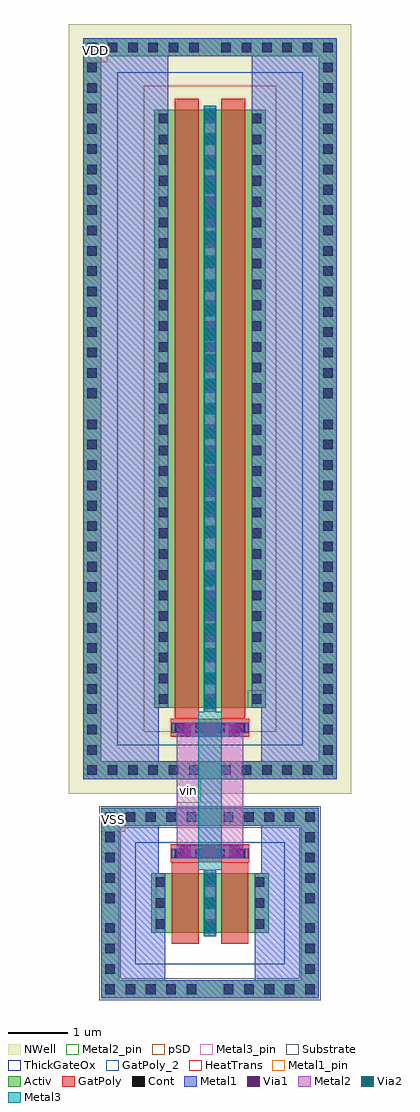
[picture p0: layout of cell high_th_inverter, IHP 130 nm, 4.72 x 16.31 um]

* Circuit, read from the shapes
.subckt high_th_inverter VDD VSS vin vout
XM1 vout vin VSS VSS sg13_hv_nmos w=1u l=0.45u m=2
XM2 vout vin VDD VDD sg13_hv_pmos w=10u l=0.4u m=2
.ends

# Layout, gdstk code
from math import pi, radians
import gdstk
lib = gdstk.Library(unit=1e-6, precision=1e-09)
def R(c, l, rs):  # rectangles x0, y0, x1, y1
    for r in rs: c.add(gdstk.rectangle(r[:2], r[2:], *l))
def A(c, l, x, y, w, h, nx, ny, dx, dy):  # array of equal rectangles
    R(c, l, [(x+i*dx, y+j*dy, x+i*dx+w, y+j*dy+h) for i in range(nx) for j in range(ny)])
def P(c, l, *ps):  # polygons
    for p in ps: c.add(gdstk.Polygon(p, *l))
Activ = (1, 0)
GatPoly = (5, 0)
GatPoly_2 = (5, 2)
Cont = (6, 0)
Metal1 = (8, 0)
Metal1_pin = (8, 2)
Metal2 = (10, 0)
Metal2_pin = (10, 2)
pSD = (14, 0)
Via1 = (19, 0)
Via2 = (29, 0)
Metal3 = (30, 0)
Metal3_pin = (30, 2)
NWell = (31, 0)
Substrate = (40, 0)
ThickGateOx = (44, 0)
HeatTrans = (51, 0)

via_stack_1 = lib.new_cell('via_stack$1')
R(via_stack_1, Metal1, [(-5.065,-0.105,5.065,0.105)])
R(via_stack_1, Metal2, [(-5.065,-0.1,5.065,0.1)])
A(via_stack_1, Via1, -5.015, -0.095, 0.19, 0.19, 25, 1, 0.41, 0)
A(via_stack_1, Via2, -5.015, -0.095, 0.19, 0.19, 25, 1, 0.41, 0)
R(via_stack_1, Metal3, [(-5.065,-0.1,5.065,0.1)])

via_stack = lib.new_cell('via_stack')
R(via_stack, Metal1, [(-0.555,-0.105,0.555,0.105)])
R(via_stack, Metal2, [(-0.555,-0.1,0.555,0.1)])
A(via_stack, Via1, -0.505, -0.095, 0.19, 0.19, 3, 1, 0.41, 0)
A(via_stack, Via2, -0.505, -0.095, 0.19, 0.19, 3, 1, 0.41, 0)
R(via_stack, Metal3, [(-0.555,-0.1,0.555,0.1)])

via_stack_2 = lib.new_cell('via_stack$2')
R(via_stack_2, GatPoly, [(-0.15,-0.66,0.15,0.66)])
A(via_stack_2, Cont, -0.08, -0.59, 0.16, 0.16, 1, 4, 0, 0.34)
R(via_stack_2, Metal1, [(-0.08,-0.64,0.08,0.64)])

via_stack_4 = lib.new_cell('via_stack$4')
R(via_stack_4, Metal1, [(-0.105,-0.555,0.105,0.555)])
R(via_stack_4, Metal2, [(-0.1,-0.555,0.1,0.555)])
A(via_stack_4, Via1, -0.095, -0.505, 0.19, 0.19, 1, 3, 0, 0.41)

pmoshv = lib.new_cell('pmosHV')
A(pmoshv, Activ, 0, 0, 0.3, 0.3, 3, 1, 0.78, 0)
R(pmoshv, Activ, [(-1.19,-0.89,-0.89,10.89), (2.75,-0.89,3.05,10.89), (0,0,1.86,10), (-1.19,10.89,3.05,11.19)])
P(pmoshv, Activ, [(-1.19,-1.19),(-1.19,10.89),(-0.89,10.89),(-0.89,-0.89),(2.75,-0.89),(2.75,10.89),(-1.19,10.89),(-1.19,11.19),(3.05,11.19),(3.05,-1.19)])
R(pmoshv, GatPoly, [(0.34,-0.18,0.74,10.18), (1.12,-0.18,1.52,10.18)])
R(pmoshv, GatPoly_2, [(0.34,-0.18,0.74,10.18)])
A(pmoshv, Cont, -1.12, -1.12, 0.16, 0.16, 6, 2, 0.34, 12.08)
A(pmoshv, Cont, 1.12, -1.12, 0.16, 0.16, 6, 2, 0.34, 12.08)
A(pmoshv, Cont, -1.12, -0.78, 0.16, 0.16, 1, 17, 0, 0.34)
A(pmoshv, Cont, 2.82, -0.78, 0.16, 0.16, 1, 17, 0, 0.34)
A(pmoshv, Cont, 0.07, 0.07, 0.16, 0.16, 3, 4, 0.78, 0.345)
A(pmoshv, Cont, 0.07, 1.455, 0.16, 0.16, 3, 3, 0.78, 0.345)
A(pmoshv, Cont, 0.07, 2.495, 0.16, 0.16, 3, 4, 0.78, 0.345)
A(pmoshv, Cont, 0.07, 3.88, 0.16, 0.16, 3, 3, 0.78, 0.345)
A(pmoshv, Cont, 0.07, 4.92, 0.16, 0.16, 3, 4, 0.78, 0.345)
A(pmoshv, Cont, -1.12, 5.18, 0.16, 0.16, 1, 17, 0, 0.34)
A(pmoshv, Cont, 2.82, 5.18, 0.16, 0.16, 1, 17, 0, 0.34)
A(pmoshv, Cont, 0.07, 6.305, 0.16, 0.16, 3, 3, 0.78, 0.345)
A(pmoshv, Cont, 0.07, 7.345, 0.16, 0.16, 3, 4, 0.78, 0.345)
A(pmoshv, Cont, 0.07, 8.73, 0.16, 0.16, 3, 3, 0.78, 0.345)
A(pmoshv, Cont, 0.07, 9.77, 0.16, 0.16, 3, 1, 0.78, 0)
A(pmoshv, Metal1, 0.07, 0, 0.16, 10, 3, 1, 0.78, 0)
R(pmoshv, Metal1, [(-1.19,-1.19,3.05,-0.89), (-1.19,-0.89,-0.89,10.89), (2.75,-0.89,3.05,10.89), (-1.19,10.89,3.05,11.19)])
R(pmoshv, Metal1_pin, [(0.07,0,0.23,10), (0.85,0,1.01,10)])
R(pmoshv, pSD, [(-0.18,-0.4,2.04,10.4)])
R(pmoshv, NWell, [(-1.43,-1.43,3.29,11.43), (-0.62,-0.62,2.48,10.62)])
R(pmoshv, Substrate, [(1.56,0,1.86,0.3)])
R(pmoshv, ThickGateOx, [(-0.62,-0.62,2.48,10.62)])
R(pmoshv, HeatTrans, [(0.34,-0.18,0.74,10.18), (1.12,-0.18,1.52,10.18)])
pmoshv.add(gdstk.Label('pmosHV', (0.54,5), layer=63, texttype=0))
pmoshv.add(gdstk.Label('well', (0.93,-1.04), layer=63, texttype=0))
pmoshv.add(gdstk.Label('pmos', (0.54,5), layer=51, texttype=0))
pmoshv.add(gdstk.Label('pmos', (1.32,5), layer=51, texttype=0))

nmoshv = lib.new_cell('nmosHV')
A(nmoshv, Activ, 0, 0, 0.3, 0.3, 3, 1, 0.83, 0)
R(nmoshv, Activ, [(-0.84,-0.79,-0.54,1.79), (2.5,-0.79,2.8,1.79), (0,0,1.96,1), (-0.84,1.79,2.8,2.09)])
P(nmoshv, Activ, [(-0.84,-1.09),(-0.84,1.79),(-0.54,1.79),(-0.54,-0.79),(2.5,-0.79),(2.5,1.79),(-0.84,1.79),(-0.84,2.09),(2.8,2.09),(2.8,-1.09)])
R(nmoshv, GatPoly, [(0.34,-0.18,0.79,1.18), (1.17,-0.18,1.62,1.18)])
R(nmoshv, GatPoly_2, [(0.34,-0.18,0.79,1.18)])
A(nmoshv, Cont, -0.77, -1.02, 0.16, 0.16, 5, 2, 0.34, 2.88)
A(nmoshv, Cont, 1.21, -1.02, 0.16, 0.16, 5, 2, 0.34, 2.88)
A(nmoshv, Cont, -0.77, -0.68, 0.16, 0.16, 1, 3, 0, 0.34)
A(nmoshv, Cont, 2.57, -0.68, 0.16, 0.16, 1, 3, 0, 0.34)
A(nmoshv, Cont, 0.07, 0.07, 0.16, 0.16, 3, 3, 0.83, 0.35)
A(nmoshv, Cont, -0.77, 0.5, 0.16, 0.16, 1, 4, 0, 0.34)
A(nmoshv, Cont, 2.57, 0.5, 0.16, 0.16, 1, 4, 0, 0.34)
A(nmoshv, Metal1, 0.07, 0, 0.16, 1, 3, 1, 0.83, 0)
R(nmoshv, Metal1, [(-0.84,-1.09,2.8,-0.79), (-0.84,-0.79,-0.54,1.79), (2.5,-0.79,2.8,1.79), (-0.84,1.79,2.8,2.09)])
R(nmoshv, Metal1_pin, [(0.07,0,0.23,1), (0.9,0,1.06,1)])
R(nmoshv, pSD, [(-0.87,-0.76,-0.51,1.76), (2.47,-0.76,2.83,1.76), (-0.87,1.76,2.83,2.12)])
P(nmoshv, pSD, [(-0.87,-1.12),(-0.87,1.76),(-0.51,1.76),(-0.51,-0.76),(2.47,-0.76),(2.47,1.76),(-0.87,1.76),(-0.87,2.12),(2.83,2.12),(2.83,-1.12)])
R(nmoshv, Substrate, [(-0.87,-0.76,-0.51,1.76), (2.47,-0.76,2.83,1.76), (-0.87,1.76,2.83,2.12)])
P(nmoshv, Substrate, [(-0.87,-1.12),(-0.87,1.76),(-0.51,1.76),(-0.51,-0.76),(2.47,-0.76),(2.47,1.76),(-0.87,1.76),(-0.87,2.12),(2.83,2.12),(2.83,-1.12)])
R(nmoshv, ThickGateOx, [(-0.27,-0.52,2.23,1.52)])
R(nmoshv, HeatTrans, [(0.34,-0.18,0.79,1.18), (1.17,-0.18,1.62,1.18)])
nmoshv.add(gdstk.Label('nmosHV', (0.565,0.5), layer=63, texttype=0))
nmoshv.add(gdstk.Label('sub!', (0.98,-0.94), layer=63, texttype=0))
nmoshv.add(gdstk.Label('nmosHV', (0.565,0.5), layer=51, texttype=0))
nmoshv.add(gdstk.Label('nmosHV', (1.395,0.5), layer=51, texttype=0))

high_th_inverter = lib.new_cell('high_th_inverter')
R(high_th_inverter, Metal1, [(-1.52,-3.12,-0.75,-1.33), (0.75,-3.12,1.52,-1.33), (-1.52,-1.33,-0.86,-0.54), (0.86,-1.33,1.52,-0.54), (-1.82,0.54,-0.86,1.43), (0.86,0.54,1.82,1.43), (-1.82,1.43,-0.7,12.32), (0.7,1.43,1.82,12.32)])
R(high_th_inverter, Metal1_pin, [(-1.82,-0.64,-1.42,-0.24), (-2.12,12.22,-1.72,12.62)])
R(high_th_inverter, Metal2, [(-0.555,-0.875,0.555,0.975)])
R(high_th_inverter, Metal2_pin, [(-0.555,-0.15,-0.155,0.25)])
R(high_th_inverter, Metal3_pin, [(-0.2,-0.15,0.2,0.25)])
high_th_inverter.add(gdstk.FlexPath([(0,1.365),(0,-1.275)], 0.4, ends="flush", simple_path=True, layer=30, datatype=0))  # Metal3
high_th_inverter.add(gdstk.Reference(via_stack_1, (0,6.43), rotation=pi/2))
high_th_inverter.add(gdstk.Reference(via_stack, (0,-1.83), rotation=pi/2))
high_th_inverter.add(gdstk.Reference(via_stack_2, (0,1.1), rotation=pi/2))
high_th_inverter.add(gdstk.Reference(via_stack_2, (0,-1), rotation=pi/2))
high_th_inverter.add(gdstk.Reference(via_stack_4, (0,-0.965), rotation=pi/2))
high_th_inverter.add(gdstk.Reference(via_stack_4, (0,1.055), rotation=pi/2))
high_th_inverter.add(gdstk.Reference(pmoshv, (-0.93,1.43)))
high_th_inverter.add(gdstk.Reference(nmoshv, (-0.98,-2.33)))
high_th_inverter.add(gdstk.Label('VSS', (-1.62,-0.44), layer=8, texttype=25))
high_th_inverter.add(gdstk.Label('VDD', (-1.92,12.42), layer=8, texttype=25))
high_th_inverter.add(gdstk.Label('vin', (-0.355,0.05), layer=10, texttype=25))
high_th_inverter.add(gdstk.Label('vout', (0,0.05), layer=30, texttype=25))

lib.write_gds('high_th_inverter.gds')
